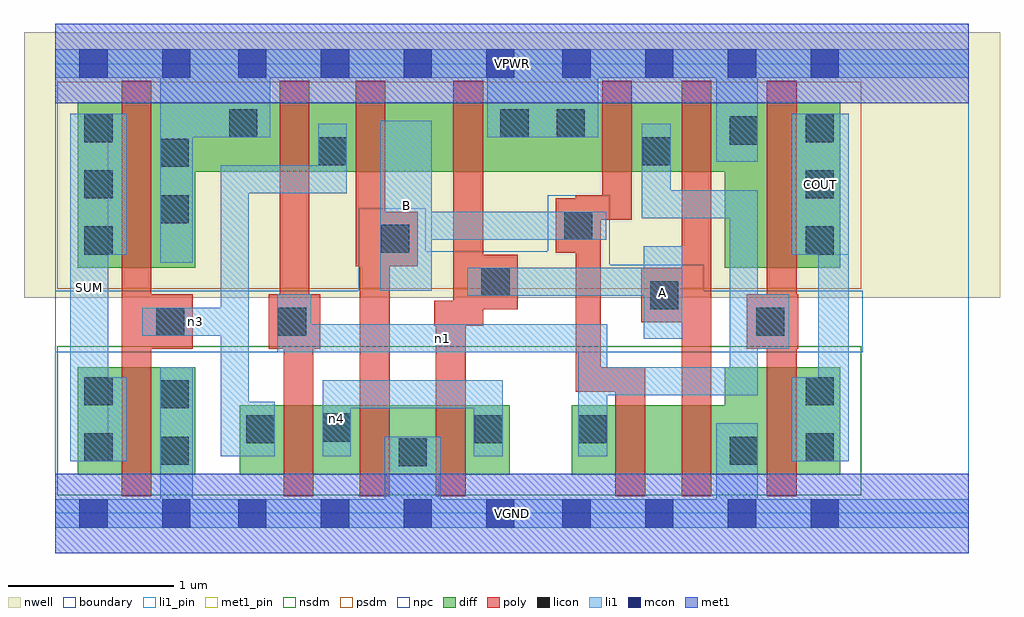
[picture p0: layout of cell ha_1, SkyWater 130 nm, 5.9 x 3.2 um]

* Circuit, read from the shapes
.subckt ha_1 A B COUT SUM VGND VPWR n1 n3 n4
XM1 VGND n3 SUM VSUBS sky130_fd_pr__nfet_01v8 w=0.65 l=0.18
XM2 n4 n1 n3 VSUBS sky130_fd_pr__nfet_01v8 w=0.42 l=0.18
XM3 VGND B n4 VSUBS sky130_fd_pr__nfet_01v8 w=0.42 l=0.18
XM4 n4 A VGND VSUBS sky130_fd_pr__nfet_01v8 w=0.42 l=0.18
XM5 n2 B n1 VSUBS sky130_fd_pr__nfet_01v8 w=0.42 l=0.18
XM6 VGND A n2 VSUBS sky130_fd_pr__nfet_01v8 w=0.42 l=0.18
XM7 COUT n1 VGND VSUBS sky130_fd_pr__nfet_01v8 w=0.65 l=0.18
XM8 VPWR n3 SUM n5 sky130_fd_pr__pfet_01v8 w=1 l=0.18
XM9 n3 n1 VPWR n5 sky130_fd_pr__pfet_01v8 w=0.42 l=0.18
XM10 n6 B n3 n5 sky130_fd_pr__pfet_01v8 w=0.42 l=0.18
XM11 VPWR A n6 n5 sky130_fd_pr__pfet_01v8 w=0.42 l=0.18
XM12 n1 B VPWR n5 sky130_fd_pr__pfet_01v8 w=0.42 l=0.18
XM13 VPWR A n1 n5 sky130_fd_pr__pfet_01v8 w=0.42 l=0.18
XM14 COUT n1 VPWR n5 sky130_fd_pr__pfet_01v8 w=1 l=0.18
.ends

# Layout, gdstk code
import gdstk
lib = gdstk.Library(unit=1e-6, precision=1e-09)
def R(c, l, rs):  # rectangles x0, y0, x1, y1
    for r in rs: c.add(gdstk.rectangle(r[:2], r[2:], *l))
def A(c, l, x, y, w, h, nx, ny, dx, dy):  # array of equal rectangles
    R(c, l, [(x+i*dx, y+j*dy, x+i*dx+w, y+j*dy+h) for i in range(nx) for j in range(ny)])
nwell = (64, 20)
diff = (65, 20)
poly = (66, 20)
licon = (66, 44)
li1_pin = (67, 16)
li1 = (67, 20)
mcon = (67, 44)
met1_pin = (68, 16)
met1 = (68, 20)
nsdm = (93, 44)
psdm = (94, 20)
npc = (95, 20)
boundary = (235, 4)

ha_1 = lib.new_cell('ha_1')
R(ha_1, nwell, [(-0.19,1.305,5.71,2.91), (0,1.305,5.52,2.91)])
R(ha_1, diff, [(0.135,0.235,0.845,0.885), (1.115,0.235,2.745,0.655), (3.12,0.235,4.745,0.655), (4.045,0.235,4.745,0.885), (0.135,1.485,0.845,2.485), (4.045,1.485,4.745,2.485), (0.135,2.065,4.745,2.485)])
R(ha_1, poly, [(0.4,0.105,0.58,2.615), (1.38,0.105,1.56,1.325), (1.84,0.105,2.02,1.825), (2.3,0.105,2.48,1.285), (3.385,0.105,3.565,0.885), (3.785,0.105,3.965,2.615), (4.3,0.105,4.48,2.615), (3.145,0.735,3.295,1.925), (3.145,0.735,3.565,0.885), (0.4,0.995,0.83,1.325), (1.29,0.995,1.6,1.325), (1.355,0.995,1.535,2.615), (4.18,0.995,4.49,1.325), (2.29,1.135,2.585,1.285), (2.405,1.135,2.585,2.615), (3.54,1.155,3.965,1.485), (2.405,1.235,2.795,1.565), (1.815,1.495,1.995,2.615), (1.815,1.495,2.19,1.825), (3.025,1.575,3.295,1.905), (3.145,1.775,3.485,1.925), (3.305,1.775,3.485,2.615)])
A(ha_1, licon, 0.175, 1.565, 0.17, 0.17, 1, 3, 0, 0.34)
A(ha_1, licon, 4.535, 1.565, 0.17, 0.17, 1, 3, 0, 0.34)
R(ha_1, licon, [(2.075,0.285,2.245,0.455), (0.635,0.295,0.805,0.465), (4.075,0.295,4.245,0.465), (0.175,0.315,0.345,0.485), (4.535,0.315,4.705,0.485), (1.155,0.425,1.325,0.595), (2.535,0.425,2.705,0.595), (3.16,0.425,3.33,0.595), (1.615,0.435,1.785,0.605), (0.635,0.635,0.805,0.805), (0.175,0.655,0.345,0.825), (4.535,0.655,4.705,0.825), (0.61,1.075,0.78,1.245), (1.345,1.075,1.515,1.245), (4.235,1.075,4.405,1.245), (3.595,1.235,3.765,1.405), (2.575,1.315,2.745,1.485), (1.97,1.575,2.14,1.745), (3.075,1.655,3.245,1.825), (0.635,1.755,0.805,1.925), (0.635,2.095,0.805,2.265), (1.59,2.105,1.76,2.275), (3.55,2.105,3.72,2.275), (4.075,2.23,4.245,2.4), (1.05,2.275,1.22,2.445), (2.69,2.275,2.86,2.445), (3.03,2.275,3.2,2.445)])
R(ha_1, li1_pin, [(0.09,0.315,0.32,2.415), (3.555,1.055,3.79,1.615), (1.965,1.345,2.275,2.375), (4.45,1.565,4.795,2.415)])
R(ha_1, li1, [(0,-0.085,5.52,0.085), (0.635,-0.085,0.83,0.885), (1.99,-0.085,2.33,0.465), (3.995,-0.085,4.245,0.545), (0.09,0.315,0.32,2.415), (0.09,0.315,0.43,0.825), (4.45,0.315,4.795,0.825), (4.61,0.315,4.795,2.415), (1,0.345,1.17,2.105), (1,0.345,1.325,0.675), (1.615,0.345,1.785,0.805), (2.53,0.345,2.705,0.805), (3.16,0.345,3.335,1.145), (1.615,0.635,2.705,0.805), (3.16,0.715,4.245,0.885), (4.075,0.715,4.245,1.955), (1.34,0.975,3.335,1.145), (1.34,0.975,1.545,1.325), (4.075,0.995,4.435,1.325), (3.555,1.055,3.79,1.615), (0.525,1.075,1.17,1.245), (2.49,1.315,3.79,1.485), (1.965,1.345,2.275,2.375), (0.635,1.515,0.83,2.805), (0.09,1.565,0.43,2.415), (4.45,1.565,4.795,2.415), (1.965,1.655,3.33,1.825), (3.545,1.785,3.72,2.355), (3.545,1.785,4.245,1.955), (1,1.935,1.76,2.105), (1.59,1.935,1.76,2.355), (3.995,2.125,4.245,2.805), (0.635,2.275,1.3,2.805), (2.61,2.275,3.28,2.805), (0,2.635,5.52,2.805)])
A(ha_1, mcon, 1.105, -0.085, 0.17, 0.17, 4, 2, 0.5, 2.72)
A(ha_1, mcon, 3.065, -0.085, 0.17, 0.17, 4, 2, 0.5, 2.72)
R(ha_1, mcon, [(0.145,-0.085,0.315,0.085), (0.645,-0.085,0.815,0.085), (0.145,2.635,0.315,2.805), (0.645,2.635,0.815,2.805)])
R(ha_1, met1_pin, [(0,-0.24,5.52,0.24), (0,2.48,5.52,2.96)])
R(ha_1, met1, [(0,-0.24,5.52,0.24), (0,2.48,5.52,2.96)])
R(ha_1, nsdm, [(0.01,0.11,4.87,1.01)])
R(ha_1, psdm, [(0.01,1.36,4.87,2.61)])
R(ha_1, npc, [(0,0.975,4.88,1.345), (1.835,0.975,3.35,1.585), (1.835,0.975,2.24,1.845), (1.835,0.975,3.92,1.505), (2.975,0.975,3.35,1.925)])
R(ha_1, boundary, [(0,0,5.52,2.72)])
ha_1.add(gdstk.Label('A', (3.672,1.335), layer=67, texttype=5))
ha_1.add(gdstk.Label('B', (2.12,1.86), layer=67, texttype=5))
ha_1.add(gdstk.Label('COUT', (4.622,1.99), layer=67, texttype=5))
ha_1.add(gdstk.Label('SUM', (0.205,1.365), layer=67, texttype=5))
ha_1.add(gdstk.Label('n4', (1.7,0.575), layer=67, texttype=5))
ha_1.add(gdstk.Label('n3', (0.847,1.16), layer=67, texttype=5))
ha_1.add(gdstk.Label('n1', (2.337,1.06), layer=67, texttype=5))
ha_1.add(gdstk.Label('VPWR', (2.76,2.72), layer=68, texttype=5))
ha_1.add(gdstk.Label('VGND', (2.76,0), layer=68, texttype=5))
ha_1.add(gdstk.Label('A', (3.672,1.335), layer=67, texttype=16))
ha_1.add(gdstk.Label('B', (2.12,1.86), layer=67, texttype=16))
ha_1.add(gdstk.Label('COUT', (4.622,1.99), layer=67, texttype=16))
ha_1.add(gdstk.Label('SUM', (0.205,1.365), layer=67, texttype=16))
ha_1.add(gdstk.Label('VPWR', (2.76,2.72), layer=68, texttype=16))
ha_1.add(gdstk.Label('VGND', (2.76,0), layer=68, texttype=16))

lib.write_gds('ha_1.gds')
